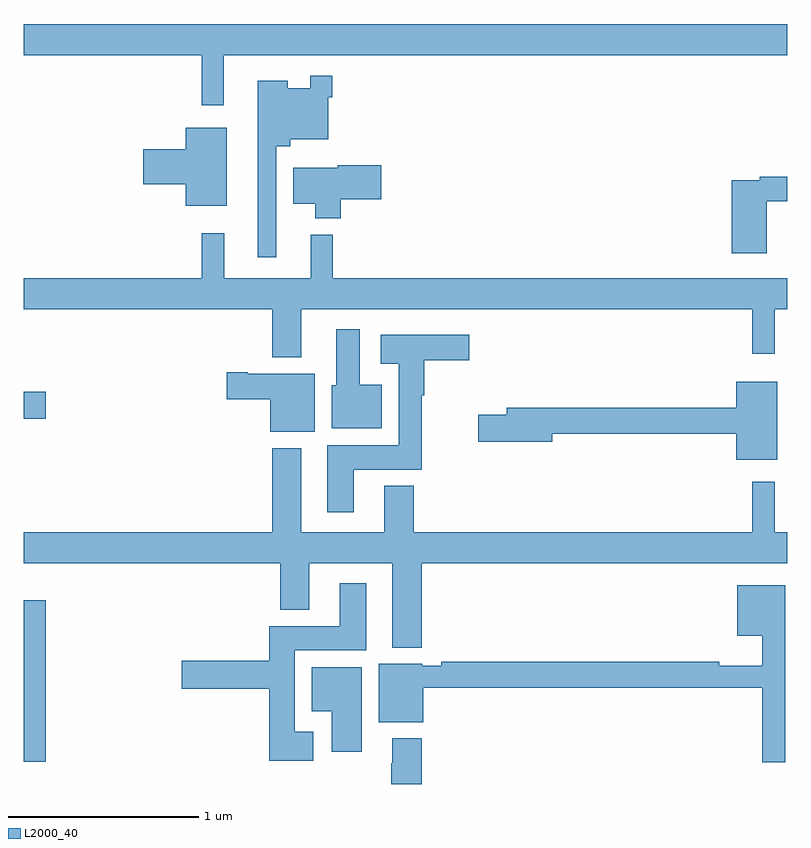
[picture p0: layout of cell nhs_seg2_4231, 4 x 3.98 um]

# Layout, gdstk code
import gdstk
lib = gdstk.Library(unit=1e-6, precision=1e-09)
def R(c, l, rs):  # rectangles x0, y0, x1, y1
    for r in rs: c.add(gdstk.rectangle(r[:2], r[2:], *l))
def P(c, l, *ps):  # polygons
    for p in ps: c.add(gdstk.Polygon(p, *l))
L2000_40 = (2000, 40)

nhs_seg2_4231 = lib.new_cell('nhs_seg2_4231')
R(nhs_seg2_4231, L2000_40, [(339,659.916,339.113,660.763), (339,661.715,339.115,661.857)])
P(nhs_seg2_4231, L2000_40, [(340.048,663.62),(343,663.62),(343,663.784),(339,663.784),(339,663.62),(339.931,663.62),(339.931,663.357),(340.048,663.357)],
  [(340.323,663.143),(340.397,663.143),(340.397,663.179),(340.596,663.179),(340.596,663.401),(340.616,663.401),(340.616,663.514),(340.5,663.514),(340.5,663.448),(340.384,663.448),(340.384,663.487),(340.226,663.487),(340.226,662.562),(340.323,662.562)],
  [(340.063,663.241),(339.848,663.241),(339.848,663.128),(339.624,663.128),(339.624,662.945),(339.848,662.945),(339.848,662.831),(340.063,662.831)],
  [(340.661,662.866),(340.873,662.866),(340.873,663.044),(340.644,663.044),(340.644,663.031),(340.412,663.031),(340.412,662.843),(340.526,662.843),(340.526,662.765),(340.661,662.765)],
  [(342.893,662.856),(343,662.856),(343,662.984),(342.856,662.984),(342.856,662.964),(342.71,662.964),(342.71,662.583),(342.893,662.583)],
  [(340.049,662.686),(339.931,662.686),(339.931,662.452),(339,662.452),(339,662.288),(340.301,662.288),(340.301,662.036),(340.453,662.036),(340.453,662.288),(342.817,662.288),(342.817,662.055),(342.935,662.055),(342.935,662.288),(343,662.288),(343,662.452),(340.619,662.452),(340.619,662.68),(340.502,662.68),(340.502,662.452),(340.049,662.452)],
  [(340.876,661.894),(340.759,661.894),(340.759,662.185),(340.637,662.185),(340.637,661.89),(340.613,661.89),(340.613,661.664),(340.876,661.664)],
  [(340.729,661.448),(341.086,661.448),(341.086,661.837),(341.099,661.837),(341.099,662.021),(341.335,662.021),(341.335,662.155),(340.869,662.155),(340.869,662.003),(340.964,662.003),(340.964,661.576),(340.589,661.576),(340.589,661.224),(340.729,661.224)],
  [(340.525,661.951),(340.174,661.951),(340.174,661.959),(340.062,661.959),(340.062,661.817),(340.292,661.817),(340.292,661.646),(340.525,661.646)],
  [(342.949,661.909),(342.734,661.909),(342.734,661.772),(341.531,661.772),(341.531,661.736),(341.382,661.736),(341.382,661.594),(341.77,661.594),(341.77,661.636),(342.734,661.636),(342.734,661.499),(342.949,661.499)],
  [(341.084,660.956),(343,660.956),(343,661.12),(342.936,661.12),(342.936,661.384),(342.817,661.384),(342.817,661.12),(341.042,661.12),(341.042,661.363),(340.889,661.363),(340.889,661.12),(340.453,661.12),(340.453,661.561),(340.301,661.561),(340.301,661.12),(339,661.12),(339,660.956),(340.343,660.956),(340.343,660.713),(340.495,660.713),(340.495,660.956),(340.931,660.956),(340.931,660.515),(341.084,660.515)],
  [(340.516,660.073),(340.42,660.073),(340.42,660.5),(340.795,660.5),(340.795,660.853),(340.655,660.853),(340.655,660.628),(340.286,660.628),(340.286,660.446),(339.828,660.446),(339.828,660.299),(340.286,660.299),(340.286,659.921),(340.516,659.921)],
  [(342.991,660.841),(342.74,660.841),(342.74,660.578),(342.87,660.578),(342.87,660.421),(342.644,660.421),(342.644,660.44),(341.188,660.44),(341.188,660.42),(341.088,660.42),(341.088,660.43),(340.859,660.43),(340.859,660.125),(341.092,660.125),(341.092,660.304),(342.87,660.304),(342.87,659.913),(342.991,659.913)],
  [(340.771,660.412),(340.508,660.412),(340.508,660.182),(340.613,660.182),(340.613,659.97),(340.771,659.97)],
  [(341.084,660.04),(340.931,660.04),(340.931,659.909),(340.924,659.909),(340.924,659.8),(341.084,659.8)])

lib.write_gds('nhs_seg2_4231.gds')
